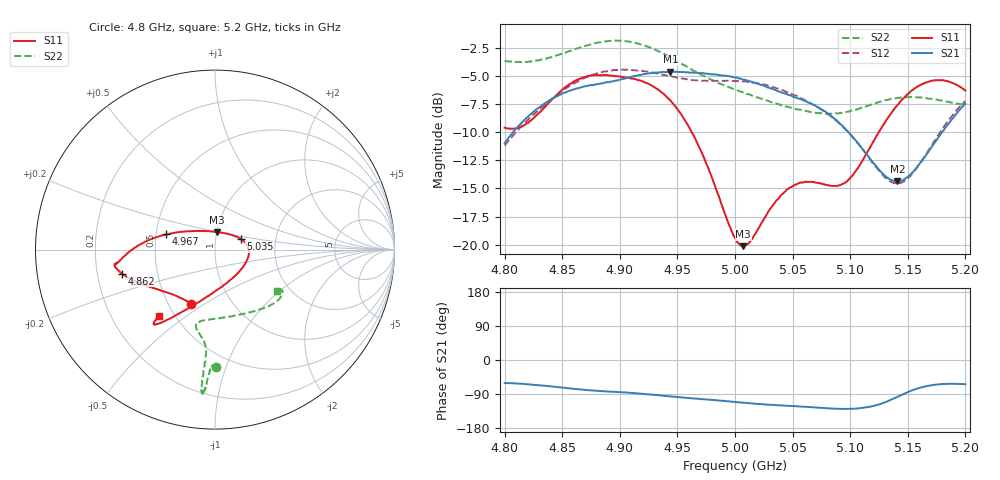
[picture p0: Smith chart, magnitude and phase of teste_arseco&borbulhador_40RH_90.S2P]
! Network Analyzer HP8722D
! Hewlett-Packard
! Data name: Linha & Wilkinson
! Saver's name: Rodrigo Anjos
! Comments: Teste da utilização de aquisição
! continua pelo VNA HP8722D
! Time and date: 15/4/2025 17:06
!  Frequency  S11  S21  S12  S22
# HZ  S  MA R 50
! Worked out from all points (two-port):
!   401 points, 4.8 GHz to 5.2 GHz, reference 50 ohm
!   highest |S21| = -4.64 dB at 4.944 GHz (marker M1); lowest = -14.4 dB at 5.141 GHz (marker M2)
!   |S21| within 3 dB of the highest: 4.833 GHz to 5.069 GHz (236.7 MHz wide, 4.78 % of centre); 5.198499 GHz to end of sweep
!   lowest |S11| = -20.1 dB at 5.007 GHz (marker M3), VSWR 1.22, Z = 50.1 + j9.91 ohm
!   |S11| at or under -10 dB: 4.962 GHz to 5.125 GHz (162.6 MHz wide, 3.22 % of centre)
!   |S22| runs from -8.4 to -1.9 dB; largest |S21 - S12| = 0.88
!   S11 on the Smith chart (normalised r, x): 4.8 GHz: 0.65, -0.44; 4.862 GHz: 0.31, -0.11; 4.967 GHz: 0.57, +0.10; 5.035 GHz: 1.32, +0.16; 5.2 GHz: 0.41, -0.40
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4.8e9  0.3307 -113.6  0.282 -60.9  0.2751 -175.1  0.6535 -89.5
4.819e9  0.3445 -133.5  0.3656 -63.6  0.3527 -173.3  0.648 -91.2
4.862e9  0.5365 -165.6  0.4926 -76.5  0.5257 -176.3  0.74 -93.5
4.867e9  0.5488 -167.5  0.5003 -78.2  0.543 -177.4  0.7539 -93.7
4.899e9  0.5577 -172.1  0.5378 -84.8  0.5964 175.9  0.8028 -95.0
4.934e9  0.485 -177.8  0.5813 -93.3  0.5732 172.0  0.7196 -95.5
4.944e9  0.436 177.6  0.5862 -96.1  0.5578 172.0  0.679 -95.4
4.967e9  0.2844 162.6  0.5789 -102.1  0.5358 174.0  0.5811 -95.0
5e9  0.1073 107.2  0.5515 -111.0  0.5334 176.6  0.4883 -99.3
5.007e9  0.0985 83.5  0.539 -112.6  0.53 176.4  0.4738 -100.8
5.014e9  0.1048 61.3  0.5291 -114.5  0.5268 176.2  0.4616 -102.5
5.035e9  0.1546 23.1  0.4863 -119.0  0.4971 175.1  0.4238 -103.8
5.05e9  0.1818 7.2  0.4545 -121.5  0.4641 174.5  0.4037 -100.4
5.067e9  0.1898 -11.2  0.4195 -124.6  0.4211 174.1  0.387 -91.8
5.087e9  0.1821 -43.6  0.3596 -128.5  0.3577 173.7  0.3826 -76.8
5.097e9  0.1906 -64.7  0.321 -129.1  0.3211 174.5  0.3886 -68.6
5.134e9  0.3733 -116.0  0.1956 -106.8  0.1919 -159.7  0.4415 -43.4
5.141e9  0.4159 -120.0  0.1908 -97.0  0.1871 -148.8  0.4477 -40.2
5.153e9  0.4812 -124.8  0.2064 -80.8  0.2043 -130.1  0.4519 -35.9
5.17e9  0.5326 -128.4  0.268 -66.9  0.2725 -112.9  0.4443 -32.1
5.184e9  0.5319 -129.8  0.3382 -63.0  0.3493 -107.1  0.4314 -31.1
5.2e9  0.4827 -130.2  0.4224 -64.0  0.4344 -106.0  0.4158 -33.4
